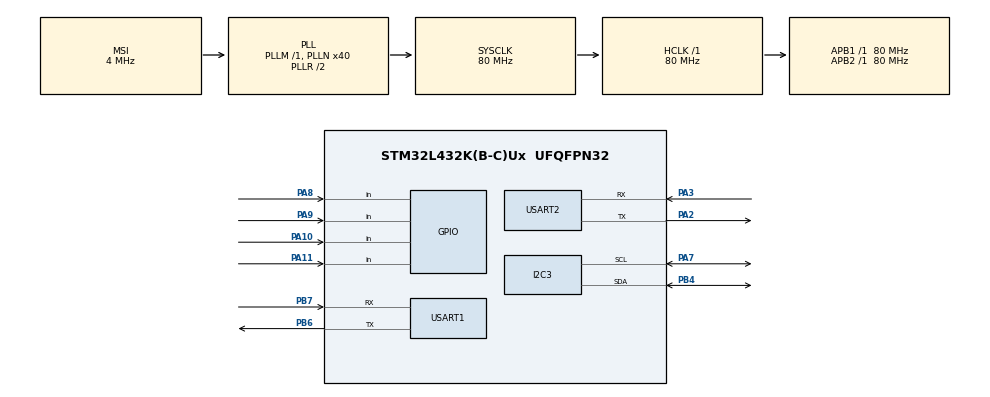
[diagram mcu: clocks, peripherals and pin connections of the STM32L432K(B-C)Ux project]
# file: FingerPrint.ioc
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I2C3.Timing=0x10909CEC
Mcu.Family=STM32L4
Mcu.Name=STM32L432K(B-C)Ux
Mcu.Package=UFQFPN32
NVIC.PriorityGroup=NVIC_PRIORITYGROUP_4
PA10.Signal=GPIO_Input
PA11.Signal=GPIO_Input
PA13\ (JTMS-SWDIO).Mode=Serial_Wire
PA13\ (JTMS-SWDIO).Signal=SYS_JTMS-SWDIO
PA14\ (JTCK-SWCLK).Mode=Serial_Wire
PA14\ (JTCK-SWCLK).Signal=SYS_JTCK-SWCLK
PA2.Mode=Asynchronous
PA2.Signal=USART2_TX
PA3.Mode=Asynchronous
PA3.Signal=USART2_RX
PA7.Mode=I2C
PA7.Signal=I2C3_SCL
PA8.Signal=GPIO_Input
PA9.Signal=GPIO_Input
PB4\ (NJTRST).Mode=I2C
PB4\ (NJTRST).Signal=I2C3_SDA
PB6.Mode=Asynchronous
PB6.Signal=USART1_TX
PB7.Mode=Asynchronous
PB7.Signal=USART1_RX
PC14-OSC32_IN\ (PC14).Mode=LSE-External-Oscillator
PC14-OSC32_IN\ (PC14).Signal=RCC_OSC32_IN
PC15-OSC32_OUT\ (PC15).Mode=LSE-External-Oscillator
PC15-OSC32_OUT\ (PC15).Signal=RCC_OSC32_OUT
ProjectManager.HeapSize=0x200
ProjectManager.StackSize=0x400
ProjectManager.TargetToolchain=MDK-ARM V5
RCC.AHBFreq_Value=80000000
RCC.APB1Freq_Value=80000000
RCC.APB1TimFreq_Value=80000000
RCC.APB2Freq_Value=80000000
RCC.APB2TimFreq_Value=80000000
RCC.CortexFreq_Value=80000000
RCC.HCLKFreq_Value=80000000
RCC.HSE_VALUE=8000000
RCC.HSI48_VALUE=48000000
RCC.HSI_VALUE=16000000
RCC.MSI_VALUE=4000000
RCC.PLLN=40
RCC.SYSCLKFreq_VALUE=80000000
RCC.SYSCLKSource=RCC_SYSCLKSOURCE_PLLCLK
RCC.VCOOutputFreq_Value=160000000
USART1.VirtualMode-Asynchronous=VM_ASYNC
USART2.VirtualMode-Asynchronous=VM_ASYNC
board=custom

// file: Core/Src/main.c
/* USER CODE BEGIN Header */
/**
  ******************************************************************************
  * @file           : main.c
  * @brief          : Main program body
  ******************************************************************************
  * @attention
  *
  * <h2><center>&copy; Copyright (c) 2021 STMicroelectronics.
  * All rights reserved.</center></h2>
  *
  * This software component is licensed by ST under BSD 3-Clause license,
  * the "License"; You may not use this file except in compliance with the
  * License. You may obtain a copy of the License at:
  *                        opensource.org/licenses/BSD-3-Clause
  *
  ******************************************************************************
  */
/* USER CODE END Header */
#include "main.h"

/* USER CODE BEGIN Includes */
static inline void debounce(void)
{
	// Counter for number of equal states
	static uint8_t count = 0;
	// Keeps track of current (debounced) state
	static uint8_t button_state = 0;
	// Check if button is high or low for the moment
	uint8_t current_state = HAL_GPIO_ReadPin(GPIOA, GPIO_PIN_10);
	if (current_state != button_state)
	{
		// Button state is about to be changed, increase counter
		count++;
		if (count >= 5) {
			// The button have not bounced for some checks, change state
			button_state = current_state;
			if (current_state != 0) {
				shoot=1;
			}
			count = 0;
		}
	} else {
	// Reset counter
		count = 0;
	}
}
/* USER CODE END Includes */

int flag = 0; // 1 Adding 2 Deleting 3 Checking 4 Up
void addFP()
{

}

void delFP()
{

}

I2C_HandleTypeDef hi2c3;

UART_HandleTypeDef huart1;
UART_HandleTypeDef huart2;

void SystemClock_Config(void);
static void MX_GPIO_Init(void);
static void MX_I2C3_Init(void);
static void MX_USART1_UART_Init(void);
static void MX_USART2_UART_Init(void);

int main(void)
{

  /* MCU Configuration--------------------------------------------------------*/

  /* Reset of all peripherals, Initializes the Flash interface and the Systick. */
  HAL_Init();

  /* Configure the system clock */
  SystemClock_Config();

  /* Initialize all configured peripherals */
  MX_GPIO_Init();
  MX_I2C3_Init();
  MX_USART1_UART_Init();
  MX_USART2_UART_Init();

  /* Infinite loop */
  while (1)
  {

    /* USER CODE BEGIN 3 */

	  debounce();
	  if(shoot)
	  {
		HAL_UART_Transmit(&huart2, &y, 1, 10000);
		shoot=0;
	  }

	 switch(flag)
	 {
		case 0:
			continue;
			break;
		case 1:
			addFP();
			break;
		case 2:
			delFP();
			break;
		case 3:
			checkAccess();
			break;
		case 4:
			mvUP();
			break;
		default:
			continue;
	 }
  }
  /* USER CODE END 3 */
}

void SystemClock_Config(void)
{
  RCC_OscInitTypeDef RCC_OscInitStruct = {0};
  RCC_ClkInitTypeDef RCC_ClkInitStruct = {0};

  /** Configure the main internal regulator output voltage
  */
  if (HAL_PWREx_ControlVoltageScaling(PWR_REGULATOR_VOLTAGE_SCALE1) != HAL_OK)
  {
    Error_Handler();
  }
  /** Configure LSE Drive Capability
  */
  HAL_PWR_EnableBkUpAccess();
  __HAL_RCC_LSEDRIVE_CONFIG(RCC_LSEDRIVE_LOW);
  /** Initializes the RCC Oscillators according to the specified parameters
  * in the RCC_OscInitTypeDef structure.
  */
  RCC_OscInitStruct.OscillatorType = RCC_OSCILLATORTYPE_LSE|RCC_OSCILLATORTYPE_MSI;
  RCC_OscInitStruct.LSEState = RCC_LSE_ON;
  RCC_OscInitStruct.MSIState = RCC_MSI_ON;
  RCC_OscInitStruct.MSICalibrationValue = 0;
  RCC_OscInitStruct.MSIClockRange = RCC_MSIRANGE_6;
  RCC_OscInitStruct.PLL.PLLState = RCC_PLL_ON;
  RCC_OscInitStruct.PLL.PLLSource = RCC_PLLSOURCE_MSI;
  RCC_OscInitStruct.PLL.PLLM = 1;
  RCC_OscInitStruct.PLL.PLLN = 40;
  RCC_OscInitStruct.PLL.PLLP = RCC_PLLP_DIV7;
  RCC_OscInitStruct.PLL.PLLQ = RCC_PLLQ_DIV2;
  RCC_OscInitStruct.PLL.PLLR = RCC_PLLR_DIV2;
  if (HAL_RCC_OscConfig(&RCC_OscInitStruct) != HAL_OK)
  {
    Error_Handler();
  }
  /** Initializes the CPU, AHB and APB buses clocks
  */
  RCC_ClkInitStruct.ClockType = RCC_CLOCKTYPE_HCLK|RCC_CLOCKTYPE_SYSCLK
                              |RCC_CLOCKTYPE_PCLK1|RCC_CLOCKTYPE_PCLK2;
  RCC_ClkInitStruct.SYSCLKSource = RCC_SYSCLKSOURCE_PLLCLK;
  RCC_ClkInitStruct.AHBCLKDivider = RCC_SYSCLK_DIV1;
  RCC_ClkInitStruct.APB1CLKDivider = RCC_HCLK_DIV1;
  RCC_ClkInitStruct.APB2CLKDivider = RCC_HCLK_DIV1;

  if (HAL_RCC_ClockConfig(&RCC_ClkInitStruct, FLASH_LATENCY_4) != HAL_OK)
  {
    Error_Handler();
  }
  /** Enable MSI Auto calibration
  */
  HAL_RCCEx_EnableMSIPLLMode();
}

static void MX_I2C3_Init(void)
{

  hi2c3.Instance = I2C3;
  hi2c3.Init.Timing = 0x10909CEC;
  hi2c3.Init.OwnAddress1 = 0;
  hi2c3.Init.AddressingMode = I2C_ADDRESSINGMODE_7BIT;
  hi2c3.Init.DualAddressMode = I2C_DUALADDRESS_DISABLE;
  hi2c3.Init.OwnAddress2 = 0;
  hi2c3.Init.OwnAddress2Masks = I2C_OA2_NOMASK;
  hi2c3.Init.GeneralCallMode = I2C_GENERALCALL_DISABLE;
  hi2c3.Init.NoStretchMode = I2C_NOSTRETCH_DISABLE;
  if (HAL_I2C_Init(&hi2c3) != HAL_OK)
  {
    Error_Handler();
  }
  /** Configure Analogue filter
  */
  if (HAL_I2CEx_ConfigAnalogFilter(&hi2c3, I2C_ANALOGFILTER_ENABLE) != HAL_OK)
  {
    Error_Handler();
  }
  /** Configure Digital filter
  */
  if (HAL_I2CEx_ConfigDigitalFilter(&hi2c3, 0) != HAL_OK)
  {
    Error_Handler();
  }

}

static void MX_USART1_UART_Init(void)
{

  huart1.Instance = USART1;
  huart1.Init.BaudRate = 115200;
  huart1.Init.WordLength = UART_WORDLENGTH_8B;
  huart1.Init.StopBits = UART_STOPBITS_1;
  huart1.Init.Parity = UART_PARITY_NONE;
  huart1.Init.Mode = UART_MODE_TX_RX;
  huart1.Init.HwFlowCtl = UART_HWCONTROL_NONE;
  huart1.Init.OverSampling = UART_OVERSAMPLING_16;
  huart1.Init.OneBitSampling = UART_ONE_BIT_SAMPLE_DISABLE;
  huart1.AdvancedInit.AdvFeatureInit = UART_ADVFEATURE_NO_INIT;
  if (HAL_UART_Init(&huart1) != HAL_OK)
  {
    Error_Handler();
  }

}

static void MX_USART2_UART_Init(void)
{

  huart2.Instance = USART2;
  huart2.Init.BaudRate = 115200;
  huart2.Init.WordLength = UART_WORDLENGTH_8B;
  huart2.Init.StopBits = UART_STOPBITS_1;
  huart2.Init.Parity = UART_PARITY_NONE;
  huart2.Init.Mode = UART_MODE_TX_RX;
  huart2.Init.HwFlowCtl = UART_HWCONTROL_NONE;
  huart2.Init.OverSampling = UART_OVERSAMPLING_16;
  huart2.Init.OneBitSampling = UART_ONE_BIT_SAMPLE_DISABLE;
  huart2.AdvancedInit.AdvFeatureInit = UART_ADVFEATURE_NO_INIT;
  if (HAL_UART_Init(&huart2) != HAL_OK)
  {
    Error_Handler();
  }

}

static void MX_GPIO_Init(void)
{
  GPIO_InitTypeDef GPIO_InitStruct = {0};

  /* GPIO Ports Clock Enable */
  __HAL_RCC_GPIOC_CLK_ENABLE();
  __HAL_RCC_GPIOA_CLK_ENABLE();
  __HAL_RCC_GPIOB_CLK_ENABLE();

  /*Configure GPIO pins : PA8 PA9 PA10 PA11 */
  GPIO_InitStruct.Pin = GPIO_PIN_8|GPIO_PIN_9|GPIO_PIN_10|GPIO_PIN_11;
  GPIO_InitStruct.Mode = GPIO_MODE_IT_RISING;
  GPIO_InitStruct.Pull = GPIO_NOPULL;
  HAL_GPIO_Init(GPIOA, &GPIO_InitStruct);

  /* EXTI interrupt init*/
  HAL_NVIC_SetPriority(EXTI9_5_IRQn, 0, 0);
  HAL_NVIC_EnableIRQ(EXTI9_5_IRQn);

  HAL_NVIC_SetPriority(EXTI15_10_IRQn, 0, 0);
  HAL_NVIC_EnableIRQ(EXTI15_10_IRQn);

}

void Error_Handler(void)
{
  __disable_irq();
  while (1)
  {
  }
}

/************************ (C) COPYRIGHT STMicroelectronics *****END OF FILE****/
